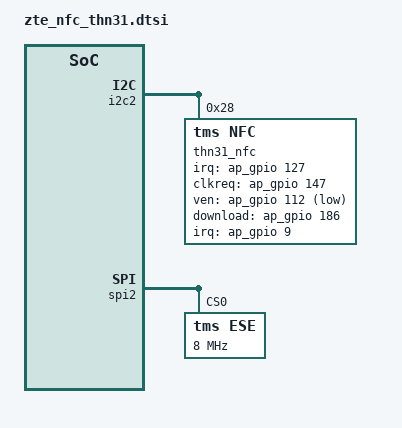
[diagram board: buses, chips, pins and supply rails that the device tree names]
&i2c2 {
	status = "okay";
        #address-cells = <1>;
        #size-cells = <0>;
        thn31_nfc@28 {
                compatible = "tms,nfc";
		reg = <0x28>;
                interrupt-parent = <&ap_gpio>;
                interrupts = <9 0>;
		tms,device-name = "tms_nfc";
		tms,device-count = <1>;
                tms,irq-gpio = <&ap_gpio 127 0>;
                tms,clkreq-gpio = <&ap_gpio 147 0>;
                tms,ven-gpio = <&ap_gpio 112 1>;
                tms,download-gpio = <&ap_gpio 186 0>;
                interrupt-names = "nfc_int";
                clock-names = "clk_aux","source","enable";
                clocks = <&aonapb_gate CLK_AUX1>, <&pmu_gate CLK_26M_AUD>, <&aonapb_gate CLK_AUX1_EB>;
        };
};


&spi2 {
        status = "okay";
        #address-cells = <1>;
        #size-cells = <0>;
        ese@0 {
                compatible = "tms,ese";
                reg = <0>;
                spi-max-frequency = <8000000>;
                tms,device-count   = <1>;
        };
};
